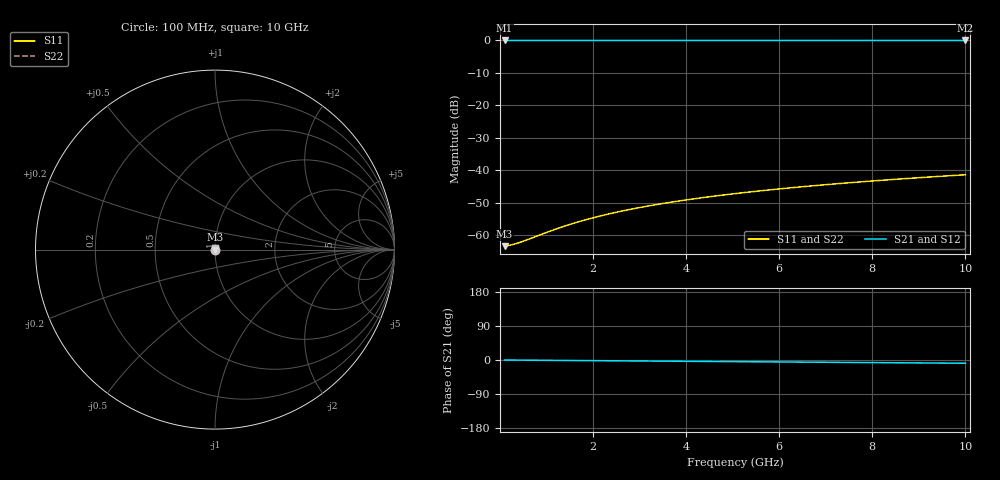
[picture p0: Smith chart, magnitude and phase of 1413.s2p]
# Hz S RI R 50.00
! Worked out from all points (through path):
!   100 points, 100 MHz to 10 GHz, reference 50 ohm
!   highest |S21| = -0.01 dB at 100 MHz (marker M1); lowest = 0.0 dB at 10 GHz (marker M2)
!   group delay of S21, straight-line fit = 2.38 ps
!   lowest |S11| = -63.5 dB at 100 MHz (marker M3), VSWR 1.00, Z = 50.1 + j0.00846 ohm
!   |S11| at or under -10 dB: start of sweep to end of sweep
!   |S22| runs from -63.5 to -41.4 dB; largest |S21 - S12| = 0
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1e8  0.000666 8.45e-05  0.9993 -0.00148  0.9993 -0.00148  0.000666 8.45e-05
2e8  0.00067 0.000169  0.9993 -0.00297  0.9993 -0.00297  0.00067 0.000169
3e8  0.000674 0.000254  0.9993 -0.00445  0.9993 -0.00445  0.000674 0.000254
4e8  0.000677 0.000338  0.9993 -0.00594  0.9993 -0.00594  0.000677 0.000338
6e8  0.000682 0.000507  0.9993 -0.00891  0.9993 -0.00891  0.000682 0.000507
1e9  0.000694 0.000844  0.9992 -0.0148  0.9992 -0.0148  0.000694 0.000844
1.2e9  0.000701 0.00101  0.9991 -0.0178  0.9991 -0.0178  0.000701 0.00101
1.5e9  0.000713 0.00127  0.999 -0.0223  0.999 -0.0223  0.000713 0.00127
1.8e9  0.000727 0.00152  0.9989 -0.0267  0.9989 -0.0267  0.000727 0.00152
2.1e9  0.000743 0.00177  0.9988 -0.0312  0.9988 -0.0312  0.000743 0.00177
2.5e9  0.000767 0.0021  0.9986 -0.0371  0.9986 -0.0371  0.000767 0.0021
2.9e9  0.000795 0.00244  0.9983 -0.0431  0.9983 -0.0431  0.000795 0.00244
3.4e9  0.000836 0.00285  0.998 -0.0505  0.998 -0.0505  0.000836 0.00285
3.8e9  0.000872 0.00319  0.9977 -0.0565  0.9977 -0.0565  0.000872 0.00319
4.2e9  0.000913 0.00352  0.9973 -0.0624  0.9973 -0.0624  0.000913 0.00352
4.6e9  0.000958 0.00385  0.9969 -0.0684  0.9969 -0.0684  0.000958 0.00385
5.1e9  0.00102 0.00426  0.9963 -0.0758  0.9963 -0.0758  0.00102 0.00426
5.9e9  0.00113 0.00492  0.9954 -0.0877  0.9954 -0.0877  0.00113 0.00492
6.7e9  0.00126 0.00557  0.9942 -0.0996  0.9942 -0.0996  0.00126 0.00557
7.5e9  0.0014 0.00623  0.9929 -0.1115  0.9929 -0.1115  0.0014 0.00623
8.4e9  0.00158 0.00696  0.9913 -0.1249  0.9913 -0.1249  0.00158 0.00696
1e10  0.00195 0.00826  0.988 -0.1487  0.988 -0.1487  0.00195 0.00826
